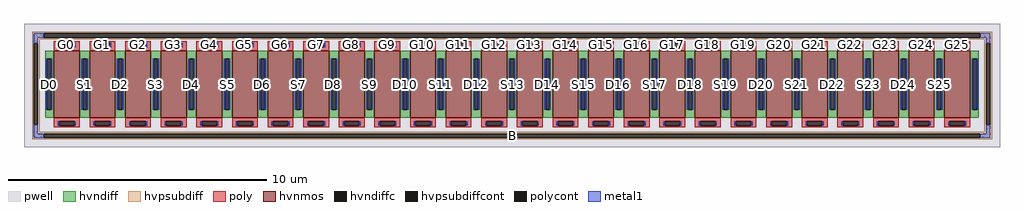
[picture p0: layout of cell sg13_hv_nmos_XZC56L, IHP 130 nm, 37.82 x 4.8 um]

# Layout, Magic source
magic
tech ihp-sg13cmos5l
magscale 1 2
<< pwell >>
rect -3782 -490 3782 470
<< hvnmos >>
rect -3550 -260 -3350 260
rect -3274 -260 -3074 260
rect -2998 -260 -2798 260
rect -2722 -260 -2522 260
rect -2446 -260 -2246 260
rect -2170 -260 -1970 260
rect -1894 -260 -1694 260
rect -1618 -260 -1418 260
rect -1342 -260 -1142 260
rect -1066 -260 -866 260
rect -790 -260 -590 260
rect -514 -260 -314 260
rect -238 -260 -38 260
rect 38 -260 238 260
rect 314 -260 514 260
rect 590 -260 790 260
rect 866 -260 1066 260
rect 1142 -260 1342 260
rect 1418 -260 1618 260
rect 1694 -260 1894 260
rect 1970 -260 2170 260
rect 2246 -260 2446 260
rect 2522 -260 2722 260
rect 2798 -260 2998 260
rect 3074 -260 3274 260
rect 3350 -260 3550 260
<< hvndiff >>
rect -3618 197 -3550 260
rect -3618 -197 -3604 197
rect -3572 -197 -3550 197
rect -3618 -260 -3550 -197
rect -3350 197 -3274 260
rect -3350 -197 -3328 197
rect -3296 -197 -3274 197
rect -3350 -260 -3274 -197
rect -3074 197 -2998 260
rect -3074 -197 -3052 197
rect -3020 -197 -2998 197
rect -3074 -260 -2998 -197
rect -2798 197 -2722 260
rect -2798 -197 -2776 197
rect -2744 -197 -2722 197
rect -2798 -260 -2722 -197
rect -2522 197 -2446 260
rect -2522 -197 -2500 197
rect -2468 -197 -2446 197
rect -2522 -260 -2446 -197
rect -2246 197 -2170 260
rect -2246 -197 -2224 197
rect -2192 -197 -2170 197
rect -2246 -260 -2170 -197
rect -1970 197 -1894 260
rect -1970 -197 -1948 197
rect -1916 -197 -1894 197
rect -1970 -260 -1894 -197
rect -1694 197 -1618 260
rect -1694 -197 -1672 197
rect -1640 -197 -1618 197
rect -1694 -260 -1618 -197
rect -1418 197 -1342 260
rect -1418 -197 -1396 197
rect -1364 -197 -1342 197
rect -1418 -260 -1342 -197
rect -1142 197 -1066 260
rect -1142 -197 -1120 197
rect -1088 -197 -1066 197
rect -1142 -260 -1066 -197
rect -866 197 -790 260
rect -866 -197 -844 197
rect -812 -197 -790 197
rect -866 -260 -790 -197
rect -590 197 -514 260
rect -590 -197 -568 197
rect -536 -197 -514 197
rect -590 -260 -514 -197
rect -314 197 -238 260
rect -314 -197 -292 197
rect -260 -197 -238 197
rect -314 -260 -238 -197
rect -38 197 38 260
rect -38 -197 -16 197
rect 16 -197 38 197
rect -38 -260 38 -197
rect 238 197 314 260
rect 238 -197 260 197
rect 292 -197 314 197
rect 238 -260 314 -197
rect 514 197 590 260
rect 514 -197 536 197
rect 568 -197 590 197
rect 514 -260 590 -197
rect 790 197 866 260
rect 790 -197 812 197
rect 844 -197 866 197
rect 790 -260 866 -197
rect 1066 197 1142 260
rect 1066 -197 1088 197
rect 1120 -197 1142 197
rect 1066 -260 1142 -197
rect 1342 197 1418 260
rect 1342 -197 1364 197
rect 1396 -197 1418 197
rect 1342 -260 1418 -197
rect 1618 197 1694 260
rect 1618 -197 1640 197
rect 1672 -197 1694 197
rect 1618 -260 1694 -197
rect 1894 197 1970 260
rect 1894 -197 1916 197
rect 1948 -197 1970 197
rect 1894 -260 1970 -197
rect 2170 197 2246 260
rect 2170 -197 2192 197
rect 2224 -197 2246 197
rect 2170 -260 2246 -197
rect 2446 197 2522 260
rect 2446 -197 2468 197
rect 2500 -197 2522 197
rect 2446 -260 2522 -197
rect 2722 197 2798 260
rect 2722 -197 2744 197
rect 2776 -197 2798 197
rect 2722 -260 2798 -197
rect 2998 197 3074 260
rect 2998 -197 3020 197
rect 3052 -197 3074 197
rect 2998 -260 3074 -197
rect 3274 197 3350 260
rect 3274 -197 3296 197
rect 3328 -197 3350 197
rect 3274 -260 3350 -197
rect 3550 197 3618 260
rect 3550 -197 3572 197
rect 3604 -197 3618 197
rect 3550 -260 3618 -197
<< hvndiffc >>
rect -3604 -197 -3572 197
rect -3328 -197 -3296 197
rect -3052 -197 -3020 197
rect -2776 -197 -2744 197
rect -2500 -197 -2468 197
rect -2224 -197 -2192 197
rect -1948 -197 -1916 197
rect -1672 -197 -1640 197
rect -1396 -197 -1364 197
rect -1120 -197 -1088 197
rect -844 -197 -812 197
rect -568 -197 -536 197
rect -292 -197 -260 197
rect -16 -197 16 197
rect 260 -197 292 197
rect 536 -197 568 197
rect 812 -197 844 197
rect 1088 -197 1120 197
rect 1364 -197 1396 197
rect 1640 -197 1672 197
rect 1916 -197 1948 197
rect 2192 -197 2224 197
rect 2468 -197 2500 197
rect 2744 -197 2776 197
rect 3020 -197 3052 197
rect 3296 -197 3328 197
rect 3572 -197 3604 197
<< hvpsubdiff >>
rect -3720 394 3720 408
rect -3720 362 -3628 394
rect 3628 362 3720 394
rect -3720 348 3720 362
rect -3720 316 -3660 348
rect -3720 -316 -3706 316
rect -3674 -316 -3660 316
rect 3660 316 3720 348
rect -3720 -368 -3660 -316
rect 3660 -316 3674 316
rect 3706 -316 3720 316
rect 3660 -368 3720 -316
rect -3720 -382 3720 -368
rect -3720 -414 -3628 -382
rect 3628 -414 3720 -382
rect -3720 -428 3720 -414
<< hvpsubdiffcont >>
rect -3628 362 3628 394
rect -3706 -316 -3674 316
rect 3674 -316 3706 316
rect -3628 -414 3628 -382
<< poly >>
rect -3550 320 -3350 334
rect -3550 288 -3510 320
rect -3390 288 -3350 320
rect -3550 260 -3350 288
rect -3274 320 -3074 334
rect -3274 288 -3234 320
rect -3114 288 -3074 320
rect -3274 260 -3074 288
rect -2998 320 -2798 334
rect -2998 288 -2958 320
rect -2838 288 -2798 320
rect -2998 260 -2798 288
rect -2722 320 -2522 334
rect -2722 288 -2682 320
rect -2562 288 -2522 320
rect -2722 260 -2522 288
rect -2446 320 -2246 334
rect -2446 288 -2406 320
rect -2286 288 -2246 320
rect -2446 260 -2246 288
rect -2170 320 -1970 334
rect -2170 288 -2130 320
rect -2010 288 -1970 320
rect -2170 260 -1970 288
rect -1894 320 -1694 334
rect -1894 288 -1854 320
rect -1734 288 -1694 320
rect -1894 260 -1694 288
rect -1618 320 -1418 334
rect -1618 288 -1578 320
rect -1458 288 -1418 320
rect -1618 260 -1418 288
rect -1342 320 -1142 334
rect -1342 288 -1302 320
rect -1182 288 -1142 320
rect -1342 260 -1142 288
rect -1066 320 -866 334
rect -1066 288 -1026 320
rect -906 288 -866 320
rect -1066 260 -866 288
rect -790 320 -590 334
rect -790 288 -750 320
rect -630 288 -590 320
rect -790 260 -590 288
rect -514 320 -314 334
rect -514 288 -474 320
rect -354 288 -314 320
rect -514 260 -314 288
rect -238 320 -38 334
rect -238 288 -198 320
rect -78 288 -38 320
rect -238 260 -38 288
rect 38 320 238 334
rect 38 288 78 320
rect 198 288 238 320
rect 38 260 238 288
rect 314 320 514 334
rect 314 288 354 320
rect 474 288 514 320
rect 314 260 514 288
rect 590 320 790 334
rect 590 288 630 320
rect 750 288 790 320
rect 590 260 790 288
rect 866 320 1066 334
rect 866 288 906 320
rect 1026 288 1066 320
rect 866 260 1066 288
rect 1142 320 1342 334
rect 1142 288 1182 320
rect 1302 288 1342 320
rect 1142 260 1342 288
rect 1418 320 1618 334
rect 1418 288 1458 320
rect 1578 288 1618 320
rect 1418 260 1618 288
rect 1694 320 1894 334
rect 1694 288 1734 320
rect 1854 288 1894 320
rect 1694 260 1894 288
rect 1970 320 2170 334
rect 1970 288 2010 320
rect 2130 288 2170 320
rect 1970 260 2170 288
rect 2246 320 2446 334
rect 2246 288 2286 320
rect 2406 288 2446 320
rect 2246 260 2446 288
rect 2522 320 2722 334
rect 2522 288 2562 320
rect 2682 288 2722 320
rect 2522 260 2722 288
rect 2798 320 2998 334
rect 2798 288 2838 320
rect 2958 288 2998 320
rect 2798 260 2998 288
rect 3074 320 3274 334
rect 3074 288 3114 320
rect 3234 288 3274 320
rect 3074 260 3274 288
rect 3350 320 3550 334
rect 3350 288 3390 320
rect 3510 288 3550 320
rect 3350 260 3550 288
rect -3550 -288 -3350 -260
rect -3550 -320 -3510 -288
rect -3390 -320 -3350 -288
rect -3550 -334 -3350 -320
rect -3274 -288 -3074 -260
rect -3274 -320 -3234 -288
rect -3114 -320 -3074 -288
rect -3274 -334 -3074 -320
rect -2998 -288 -2798 -260
rect -2998 -320 -2958 -288
rect -2838 -320 -2798 -288
rect -2998 -334 -2798 -320
rect -2722 -288 -2522 -260
rect -2722 -320 -2682 -288
rect -2562 -320 -2522 -288
rect -2722 -334 -2522 -320
rect -2446 -288 -2246 -260
rect -2446 -320 -2406 -288
rect -2286 -320 -2246 -288
rect -2446 -334 -2246 -320
rect -2170 -288 -1970 -260
rect -2170 -320 -2130 -288
rect -2010 -320 -1970 -288
rect -2170 -334 -1970 -320
rect -1894 -288 -1694 -260
rect -1894 -320 -1854 -288
rect -1734 -320 -1694 -288
rect -1894 -334 -1694 -320
rect -1618 -288 -1418 -260
rect -1618 -320 -1578 -288
rect -1458 -320 -1418 -288
rect -1618 -334 -1418 -320
rect -1342 -288 -1142 -260
rect -1342 -320 -1302 -288
rect -1182 -320 -1142 -288
rect -1342 -334 -1142 -320
rect -1066 -288 -866 -260
rect -1066 -320 -1026 -288
rect -906 -320 -866 -288
rect -1066 -334 -866 -320
rect -790 -288 -590 -260
rect -790 -320 -750 -288
rect -630 -320 -590 -288
rect -790 -334 -590 -320
rect -514 -288 -314 -260
rect -514 -320 -474 -288
rect -354 -320 -314 -288
rect -514 -334 -314 -320
rect -238 -288 -38 -260
rect -238 -320 -198 -288
rect -78 -320 -38 -288
rect -238 -334 -38 -320
rect 38 -288 238 -260
rect 38 -320 78 -288
rect 198 -320 238 -288
rect 38 -334 238 -320
rect 314 -288 514 -260
rect 314 -320 354 -288
rect 474 -320 514 -288
rect 314 -334 514 -320
rect 590 -288 790 -260
rect 590 -320 630 -288
rect 750 -320 790 -288
rect 590 -334 790 -320
rect 866 -288 1066 -260
rect 866 -320 906 -288
rect 1026 -320 1066 -288
rect 866 -334 1066 -320
rect 1142 -288 1342 -260
rect 1142 -320 1182 -288
rect 1302 -320 1342 -288
rect 1142 -334 1342 -320
rect 1418 -288 1618 -260
rect 1418 -320 1458 -288
rect 1578 -320 1618 -288
rect 1418 -334 1618 -320
rect 1694 -288 1894 -260
rect 1694 -320 1734 -288
rect 1854 -320 1894 -288
rect 1694 -334 1894 -320
rect 1970 -288 2170 -260
rect 1970 -320 2010 -288
rect 2130 -320 2170 -288
rect 1970 -334 2170 -320
rect 2246 -288 2446 -260
rect 2246 -320 2286 -288
rect 2406 -320 2446 -288
rect 2246 -334 2446 -320
rect 2522 -288 2722 -260
rect 2522 -320 2562 -288
rect 2682 -320 2722 -288
rect 2522 -334 2722 -320
rect 2798 -288 2998 -260
rect 2798 -320 2838 -288
rect 2958 -320 2998 -288
rect 2798 -334 2998 -320
rect 3074 -288 3274 -260
rect 3074 -320 3114 -288
rect 3234 -320 3274 -288
rect 3074 -334 3274 -320
rect 3350 -288 3550 -260
rect 3350 -320 3390 -288
rect 3510 -320 3550 -288
rect 3350 -334 3550 -320
<< polycont >>
rect -3510 288 -3390 320
rect -3234 288 -3114 320
rect -2958 288 -2838 320
rect -2682 288 -2562 320
rect -2406 288 -2286 320
rect -2130 288 -2010 320
rect -1854 288 -1734 320
rect -1578 288 -1458 320
rect -1302 288 -1182 320
rect -1026 288 -906 320
rect -750 288 -630 320
rect -474 288 -354 320
rect -198 288 -78 320
rect 78 288 198 320
rect 354 288 474 320
rect 630 288 750 320
rect 906 288 1026 320
rect 1182 288 1302 320
rect 1458 288 1578 320
rect 1734 288 1854 320
rect 2010 288 2130 320
rect 2286 288 2406 320
rect 2562 288 2682 320
rect 2838 288 2958 320
rect 3114 288 3234 320
rect 3390 288 3510 320
rect -3510 -320 -3390 -288
rect -3234 -320 -3114 -288
rect -2958 -320 -2838 -288
rect -2682 -320 -2562 -288
rect -2406 -320 -2286 -288
rect -2130 -320 -2010 -288
rect -1854 -320 -1734 -288
rect -1578 -320 -1458 -288
rect -1302 -320 -1182 -288
rect -1026 -320 -906 -288
rect -750 -320 -630 -288
rect -474 -320 -354 -288
rect -198 -320 -78 -288
rect 78 -320 198 -288
rect 354 -320 474 -288
rect 630 -320 750 -288
rect 906 -320 1026 -288
rect 1182 -320 1302 -288
rect 1458 -320 1578 -288
rect 1734 -320 1854 -288
rect 2010 -320 2130 -288
rect 2286 -320 2406 -288
rect 2562 -320 2682 -288
rect 2838 -320 2958 -288
rect 3114 -320 3234 -288
rect 3390 -320 3510 -288
<< metal1 >>
rect -3706 362 -3628 394
rect 3628 362 3706 394
rect -3706 316 -3674 362
rect -3520 288 -3510 320
rect -3390 288 -3380 320
rect -3244 288 -3234 320
rect -3114 288 -3104 320
rect -2968 288 -2958 320
rect -2838 288 -2828 320
rect -2692 288 -2682 320
rect -2562 288 -2552 320
rect -2416 288 -2406 320
rect -2286 288 -2276 320
rect -2140 288 -2130 320
rect -2010 288 -2000 320
rect -1864 288 -1854 320
rect -1734 288 -1724 320
rect -1588 288 -1578 320
rect -1458 288 -1448 320
rect -1312 288 -1302 320
rect -1182 288 -1172 320
rect -1036 288 -1026 320
rect -906 288 -896 320
rect -760 288 -750 320
rect -630 288 -620 320
rect -484 288 -474 320
rect -354 288 -344 320
rect -208 288 -198 320
rect -78 288 -68 320
rect 68 288 78 320
rect 198 288 208 320
rect 344 288 354 320
rect 474 288 484 320
rect 620 288 630 320
rect 750 288 760 320
rect 896 288 906 320
rect 1026 288 1036 320
rect 1172 288 1182 320
rect 1302 288 1312 320
rect 1448 288 1458 320
rect 1578 288 1588 320
rect 1724 288 1734 320
rect 1854 288 1864 320
rect 2000 288 2010 320
rect 2130 288 2140 320
rect 2276 288 2286 320
rect 2406 288 2416 320
rect 2552 288 2562 320
rect 2682 288 2692 320
rect 2828 288 2838 320
rect 2958 288 2968 320
rect 3104 288 3114 320
rect 3234 288 3244 320
rect 3380 288 3390 320
rect 3510 288 3520 320
rect 3674 316 3706 362
rect -3614 -197 -3604 197
rect -3572 -197 -3562 197
rect -3338 -197 -3328 197
rect -3296 -197 -3286 197
rect -3062 -197 -3052 197
rect -3020 -197 -3010 197
rect -2786 -197 -2776 197
rect -2744 -197 -2734 197
rect -2510 -197 -2500 197
rect -2468 -197 -2458 197
rect -2234 -197 -2224 197
rect -2192 -197 -2182 197
rect -1958 -197 -1948 197
rect -1916 -197 -1906 197
rect -1682 -197 -1672 197
rect -1640 -197 -1630 197
rect -1406 -197 -1396 197
rect -1364 -197 -1354 197
rect -1130 -197 -1120 197
rect -1088 -197 -1078 197
rect -854 -197 -844 197
rect -812 -197 -802 197
rect -578 -197 -568 197
rect -536 -197 -526 197
rect -302 -197 -292 197
rect -260 -197 -250 197
rect -26 -197 -16 197
rect 16 -197 26 197
rect 250 -197 260 197
rect 292 -197 302 197
rect 526 -197 536 197
rect 568 -197 578 197
rect 802 -197 812 197
rect 844 -197 854 197
rect 1078 -197 1088 197
rect 1120 -197 1130 197
rect 1354 -197 1364 197
rect 1396 -197 1406 197
rect 1630 -197 1640 197
rect 1672 -197 1682 197
rect 1906 -197 1916 197
rect 1948 -197 1958 197
rect 2182 -197 2192 197
rect 2224 -197 2234 197
rect 2458 -197 2468 197
rect 2500 -197 2510 197
rect 2734 -197 2744 197
rect 2776 -197 2786 197
rect 3010 -197 3020 197
rect 3052 -197 3062 197
rect 3286 -197 3296 197
rect 3328 -197 3338 197
rect 3562 -197 3572 197
rect 3604 -197 3614 197
rect -3706 -382 -3674 -316
rect -3520 -320 -3510 -288
rect -3390 -320 -3380 -288
rect -3244 -320 -3234 -288
rect -3114 -320 -3104 -288
rect -2968 -320 -2958 -288
rect -2838 -320 -2828 -288
rect -2692 -320 -2682 -288
rect -2562 -320 -2552 -288
rect -2416 -320 -2406 -288
rect -2286 -320 -2276 -288
rect -2140 -320 -2130 -288
rect -2010 -320 -2000 -288
rect -1864 -320 -1854 -288
rect -1734 -320 -1724 -288
rect -1588 -320 -1578 -288
rect -1458 -320 -1448 -288
rect -1312 -320 -1302 -288
rect -1182 -320 -1172 -288
rect -1036 -320 -1026 -288
rect -906 -320 -896 -288
rect -760 -320 -750 -288
rect -630 -320 -620 -288
rect -484 -320 -474 -288
rect -354 -320 -344 -288
rect -208 -320 -198 -288
rect -78 -320 -68 -288
rect 68 -320 78 -288
rect 198 -320 208 -288
rect 344 -320 354 -288
rect 474 -320 484 -288
rect 620 -320 630 -288
rect 750 -320 760 -288
rect 896 -320 906 -288
rect 1026 -320 1036 -288
rect 1172 -320 1182 -288
rect 1302 -320 1312 -288
rect 1448 -320 1458 -288
rect 1578 -320 1588 -288
rect 1724 -320 1734 -288
rect 1854 -320 1864 -288
rect 2000 -320 2010 -288
rect 2130 -320 2140 -288
rect 2276 -320 2286 -288
rect 2406 -320 2416 -288
rect 2552 -320 2562 -288
rect 2682 -320 2692 -288
rect 2828 -320 2838 -288
rect 2958 -320 2968 -288
rect 3104 -320 3114 -288
rect 3234 -320 3244 -288
rect 3380 -320 3390 -288
rect 3510 -320 3520 -288
rect 3674 -382 3706 -316
rect -3706 -414 -3628 -382
rect 3628 -414 3706 -382
<< labels >>
rlabel hvndiffc -3588 0 -3588 0 0 D0
port 2 nsew
rlabel polycont -3450 304 -3450 304 0 G0
port 3 nsew
rlabel hvndiffc -3312 0 -3312 0 0 S1
port 4 nsew
rlabel polycont -3174 304 -3174 304 0 G1
port 5 nsew
rlabel hvndiffc -3036 0 -3036 0 0 D2
port 6 nsew
rlabel polycont -2898 304 -2898 304 0 G2
port 7 nsew
rlabel hvndiffc -2760 0 -2760 0 0 S3
port 8 nsew
rlabel polycont -2622 304 -2622 304 0 G3
port 9 nsew
rlabel hvndiffc -2484 0 -2484 0 0 D4
port 10 nsew
rlabel polycont -2346 304 -2346 304 0 G4
port 11 nsew
rlabel hvndiffc -2208 0 -2208 0 0 S5
port 12 nsew
rlabel polycont -2070 304 -2070 304 0 G5
port 13 nsew
rlabel hvndiffc -1932 0 -1932 0 0 D6
port 14 nsew
rlabel polycont -1794 304 -1794 304 0 G6
port 15 nsew
rlabel hvndiffc -1656 0 -1656 0 0 S7
port 16 nsew
rlabel polycont -1518 304 -1518 304 0 G7
port 17 nsew
rlabel hvndiffc -1380 0 -1380 0 0 D8
port 18 nsew
rlabel polycont -1242 304 -1242 304 0 G8
port 19 nsew
rlabel hvndiffc -1104 0 -1104 0 0 S9
port 20 nsew
rlabel polycont -966 304 -966 304 0 G9
port 21 nsew
rlabel hvndiffc -828 0 -828 0 0 D10
port 22 nsew
rlabel polycont -690 304 -690 304 0 G10
port 23 nsew
rlabel hvndiffc -552 0 -552 0 0 S11
port 24 nsew
rlabel polycont -414 304 -414 304 0 G11
port 25 nsew
rlabel hvndiffc -276 0 -276 0 0 D12
port 26 nsew
rlabel polycont -138 304 -138 304 0 G12
port 27 nsew
rlabel hvndiffc 0 0 0 0 0 S13
port 28 nsew
rlabel polycont 138 304 138 304 0 G13
port 29 nsew
rlabel hvndiffc 276 0 276 0 0 D14
port 30 nsew
rlabel polycont 414 304 414 304 0 G14
port 31 nsew
rlabel hvndiffc 552 0 552 0 0 S15
port 32 nsew
rlabel polycont 690 304 690 304 0 G15
port 33 nsew
rlabel hvndiffc 828 0 828 0 0 D16
port 34 nsew
rlabel polycont 966 304 966 304 0 G16
port 35 nsew
rlabel hvndiffc 1104 0 1104 0 0 S17
port 36 nsew
rlabel polycont 1242 304 1242 304 0 G17
port 37 nsew
rlabel hvndiffc 1380 0 1380 0 0 D18
port 38 nsew
rlabel polycont 1518 304 1518 304 0 G18
port 39 nsew
rlabel hvndiffc 1656 0 1656 0 0 S19
port 40 nsew
rlabel polycont 1794 304 1794 304 0 G19
port 41 nsew
rlabel hvndiffc 1932 0 1932 0 0 D20
port 42 nsew
rlabel polycont 2070 304 2070 304 0 G20
port 43 nsew
rlabel hvndiffc 2208 0 2208 0 0 S21
port 44 nsew
rlabel polycont 2346 304 2346 304 0 G21
port 45 nsew
rlabel hvndiffc 2484 0 2484 0 0 D22
port 46 nsew
rlabel polycont 2622 304 2622 304 0 G22
port 47 nsew
rlabel hvndiffc 2760 0 2760 0 0 S23
port 48 nsew
rlabel polycont 2898 304 2898 304 0 G23
port 49 nsew
rlabel hvndiffc 3036 0 3036 0 0 D24
port 50 nsew
rlabel polycont 3174 304 3174 304 0 G24
port 51 nsew
rlabel hvndiffc 3312 0 3312 0 0 S25
port 52 nsew
rlabel polycont 3450 304 3450 304 0 G25
port 53 nsew
rlabel hvpsubdiffcont 0 -398 0 -398 0 B
port 1 nsew
<< properties >>
string FIXED_BBOX -3690 -378 3690 378
string gencell sg13_hv_nmos
string library sg13cmos5l
string parameters w 2.6 l 1.0 m 1 ng 26 diffcov 80 polycov 70 guard 1 glc 1 grc 1 gtc 1 gbc 1 tbcov 100 rlcov 100 topc 1 botc 1 poverlap 0 doverlap 1 lmin 0.45 wmin 0.15 class mosfet compatible {sg13_lv_nmos sg13_hv_nmos} full_metal 1 conn_gates 0 gate_ring 0 doports 1 viasrc 0 viadrn 0 viagate 0 ccols 1 viagb 0 viagr 0 viagl 0 viagt 0
<< end >>
